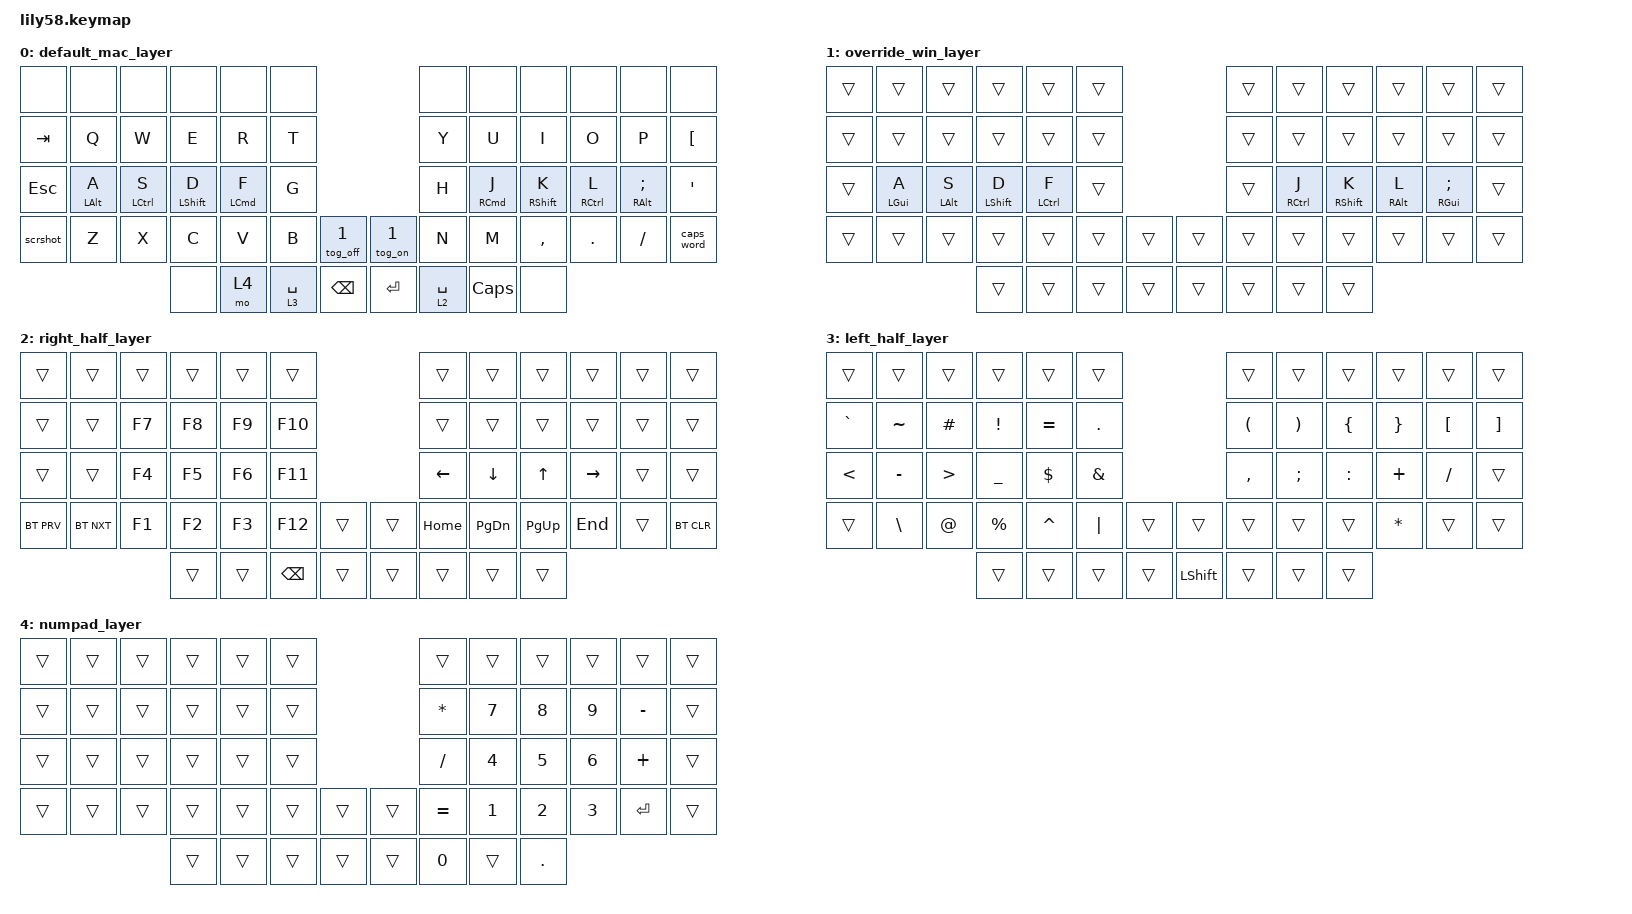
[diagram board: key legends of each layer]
/*
 * Copyright (c) 2020 The ZMK Contributors
 *
 * SPDX-License-Identifier: MIT
 */

#include <behaviors.dtsi>
#include <dt-bindings/zmk/bt.h>
#include <dt-bindings/zmk/keys.h>

/ {
    behaviors {
        td_brackets: td_brackets {
            compatible = "zmk,behavior-tap-dance";
            label = "[]";
            #binding-cells = <0>;
            tapping-term-ms = <200>;
            bindings = <&kp LEFT_BRACKET>, <&kp RIGHT_BRACKET>;
        };

        hrm: hrm {
            compatible = "zmk,behavior-hold-tap";
            #binding-cells = <2>;
            flavor = "tap-preferred";
            tapping-term-ms = <200>;
            quick-tap-ms = <200>;
            require-prior-idle-ms = <125>;
            bindings = <&kp>, <&kp>;
        };

        td_prnts: td_prnts {
            compatible = "zmk,behavior-tap-dance";
            label = "()";
            #binding-cells = <0>;
            tapping-term-ms = <200>;
            bindings = <&kp LEFT_PARENTHESIS>, <&kp RIGHT_PARENTHESIS>;
        };

        td_cbrces: td_cbrces {
            compatible = "zmk,behavior-tap-dance";
            label = "{}";
            #binding-cells = <0>;
            tapping-term-ms = <200>;
            bindings = <&kp LEFT_BRACE>, <&kp RIGHT_BRACE>;
        };

        tog_on: toggle_layer_on_only {
            compatible = "zmk,behavior-toggle-layer";
            #binding-cells = <1>;
            display-name = "Toggle Layer On";
            toggle-mode = "on";
        };

        tog_off: toggle_layer_off_only {
            compatible = "zmk,behavior-toggle-layer";
            #binding-cells = <1>;
            display-name = "Toggle Layer Off";
            toggle-mode = "off";
        };
    };

    macros {
        scrshot: scrnsht {
            compatible = "zmk,behavior-macro";
            #binding-cells = <0>;
            bindings =
                <&macro_press>,
                <&kp LEFT_COMMAND>,
                <&macro_press>,
                <&kp LSHIFT>,
                <&macro_tap>,
                <&kp NUMBER_2>,
                <&macro_release>,
                <&kp LSHIFT>,
                <&macro_release>,
                <&kp LEFT_COMMAND>;

            label = "SCRNSHT";
        };
    };

    combos { compatible = "zmk,combos"; };

    keymap {
        compatible = "zmk,keymap";

        default_mac_layer {
            bindings = <
&none       &none        &none                &none         &none                &none                                    &none        &none                 &none          &none                 &none                &none
&kp TAB     &kp Q        &kp W                &kp E         &kp R                &kp T                                    &kp Y        &kp U                 &kp I          &kp O                 &kp P                &kp LEFT_BRACKET
&kp ESCAPE  &hrm LALT A  &hrm LEFT_CONTROL S  &hrm LSHFT D  &hrm LEFT_COMMAND F  &kp G                                    &kp H        &hrm RIGHT_COMMAND J  &hrm RSHIFT K  &hrm RIGHT_CONTROL L  &hrm RALT SEMICOLON  &kp SQT
&scrshot    &kp Z        &kp X                &kp C         &kp V                &kp B        &tog_off 1       &tog_on 1  &kp N        &kp M                 &kp COMMA      &kp DOT               &kp FSLH             &caps_word
                                              &none         &mo 4                &lt 3 SPACE  &kp BACKSPACE    &kp RET    &lt 2 SPACE  &kp CAPSLOCK          &none
            >;
        };

        override_win_layer {
            bindings = <
&trans  &trans           &trans       &trans        &trans        &trans                    &trans  &trans        &trans         &trans       &trans               &trans
&trans  &trans           &trans       &trans        &trans        &trans                    &trans  &trans        &trans         &trans       &trans               &trans
&trans  &hrm LEFT_GUI A  &hrm LALT S  &hrm LSHFT D  &hrm LCTRL F  &trans                    &trans  &hrm RCTRL J  &hrm RSHIFT K  &hrm RALT L  &hrm RGUI SEMICOLON  &trans
&trans  &trans           &trans       &trans        &trans        &trans  &trans    &trans  &trans  &trans        &trans         &trans       &trans               &trans
                                      &trans        &trans        &trans  &trans    &trans  &trans  &trans        &trans
            >;
        };

        right_half_layer {
            bindings = <
&trans      &trans      &trans  &trans  &trans  &trans                           &trans          &trans          &trans        &trans           &trans  &trans
&trans      &trans      &kp F7  &kp F8  &kp F9  &kp F10                          &trans          &trans          &trans        &trans           &trans  &trans
&trans      &trans      &kp F4  &kp F5  &kp F6  &kp F11                          &kp LEFT_ARROW  &kp DOWN_ARROW  &kp UP_ARROW  &kp RIGHT_ARROW  &trans  &trans
&bt BT_PRV  &bt BT_NXT  &kp F1  &kp F2  &kp F3  &kp F12        &trans    &trans  &kp HOME        &kp PAGE_DOWN   &kp PAGE_UP   &kp END          &trans  &bt BT_CLR
                                &trans  &trans  &kp BACKSPACE  &trans    &trans  &trans          &trans          &trans
            >;
        };

        left_half_layer {
            bindings = <
&trans         &trans         &trans            &trans          &trans      &trans                               &trans                &trans                 &trans          &trans     &trans            &trans
&kp GRAVE      &kp TILDE      &kp HASH          &kp EXCL        &kp EQUAL   &kp DOT                              &kp LEFT_PARENTHESIS  &kp RIGHT_PARENTHESIS  &kp LEFT_BRACE  &kp RBRC   &kp LEFT_BRACKET  &kp RIGHT_BRACKET
&kp LESS_THAN  &kp MINUS      &kp GREATER_THAN  &kp UNDERSCORE  &kp DOLLAR  &kp AMPERSAND                        &kp COMMA             &kp SEMI               &kp COLON       &kp PLUS   &kp SLASH         &trans
&trans         &kp BACKSLASH  &kp AT_SIGN       &kp PERCENT     &kp CARET   &kp PIPE       &trans    &trans      &trans                &trans                 &trans          &kp ASTRK  &trans            &trans
                                                &trans          &trans      &trans         &trans    &kp LSHIFT  &trans                &trans                 &trans
            >;
        };

        numpad_layer {
            bindings = <
&trans  &trans  &trans  &trans  &trans  &trans                    &trans        &trans  &trans      &trans  &trans     &trans
&trans  &trans  &trans  &trans  &trans  &trans                    &kp ASTERISK  &kp N7  &kp N8      &kp N9  &kp MINUS  &trans
&trans  &trans  &trans  &trans  &trans  &trans                    &kp SLASH     &kp N4  &kp N5      &kp N6  &kp PLUS   &trans
&trans  &trans  &trans  &trans  &trans  &trans  &trans    &trans  &kp EQUAL     &kp N1  &kp N2      &kp N3  &kp ENTER  &trans
                        &trans  &trans  &trans  &trans    &trans  &kp N0        &trans  &kp PERIOD
            >;
        };
    };
};
